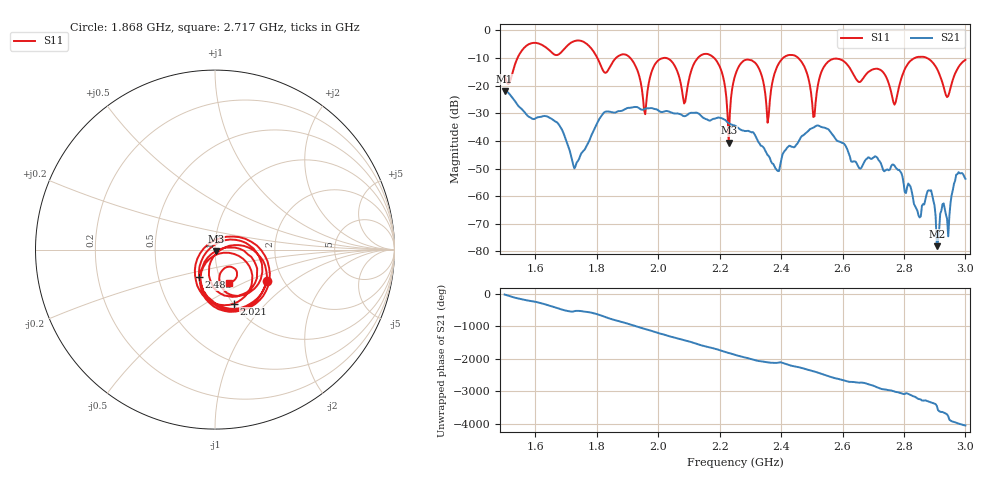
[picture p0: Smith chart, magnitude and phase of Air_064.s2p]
# HZ S RI R 50
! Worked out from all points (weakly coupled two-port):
!   404 points, 1.5 GHz to 3 GHz, reference 50 ohm
!   highest |S21| = -21.87 dB at 1.5 GHz (marker M1); lowest = -78.1 dB at 2.907 GHz (marker M2)
!   lowest |S11| = -40.6 dB at 2.23 GHz (marker M3), VSWR 1.02, Z = 50.6 - j0.756 ohm
!   |S11| at or under -10 dB: 2.182 GHz to 2.406 GHz (223.7 MHz wide, 9.75 % of centre); 2.456 GHz to 2.835 GHz (378.6 MHz wide, 14.3 % of centre); 2.875 GHz to end of sweep (the widest 3 of 7)
!   S12 and S22 are empty: the file has one direction only
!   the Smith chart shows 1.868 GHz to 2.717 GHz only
!   S11 on the Smith chart (normalised r, x): 1.868 GHz: 1.65, -0.65; 2.021 GHz: 1.01, -0.68; 2.483 GHz: 0.80, -0.26; 2.717 GHz: 1.09, -0.42
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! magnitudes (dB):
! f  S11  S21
! 1.5 GHz  -16.4  -21.9
! 1.753 GHz  -3.9  -44.0
! 1.868 GHz  -9.4  -29.3
! 1.958 GHz  -30.3  -28.3
! 2.002 GHz  -10.6  -29.1
! 2.021 GHz  -9.9  -29.3
! 2.084 GHz  -26.4  -31.0
! 2.177 GHz  -9.5  -32.1
! 2.23 GHz  -40.6  -33.6
! 2.252 GHz  -15.8  -34.6
! 2.315 GHz  -11.7  -37.9
! 2.356 GHz  -33.4  -45.1
! 2.386 GHz  -13.4  -50.5
! 2.483 GHz  -15.0  -37.0
! 2.501 GHz  -26.2  -35.4
! 2.561 GHz  -10.7  -36.7
! 2.717 GHz  -14.0  -46.9
! 2.751 GHz  -19.3  -50.6
! 2.885 GHz  -10.7  -58.0
! 2.907 GHz  -13.8  -78.1
! 2.94 GHz  -24.1  -68.2
! 3 GHz  -10.6  -53.7
